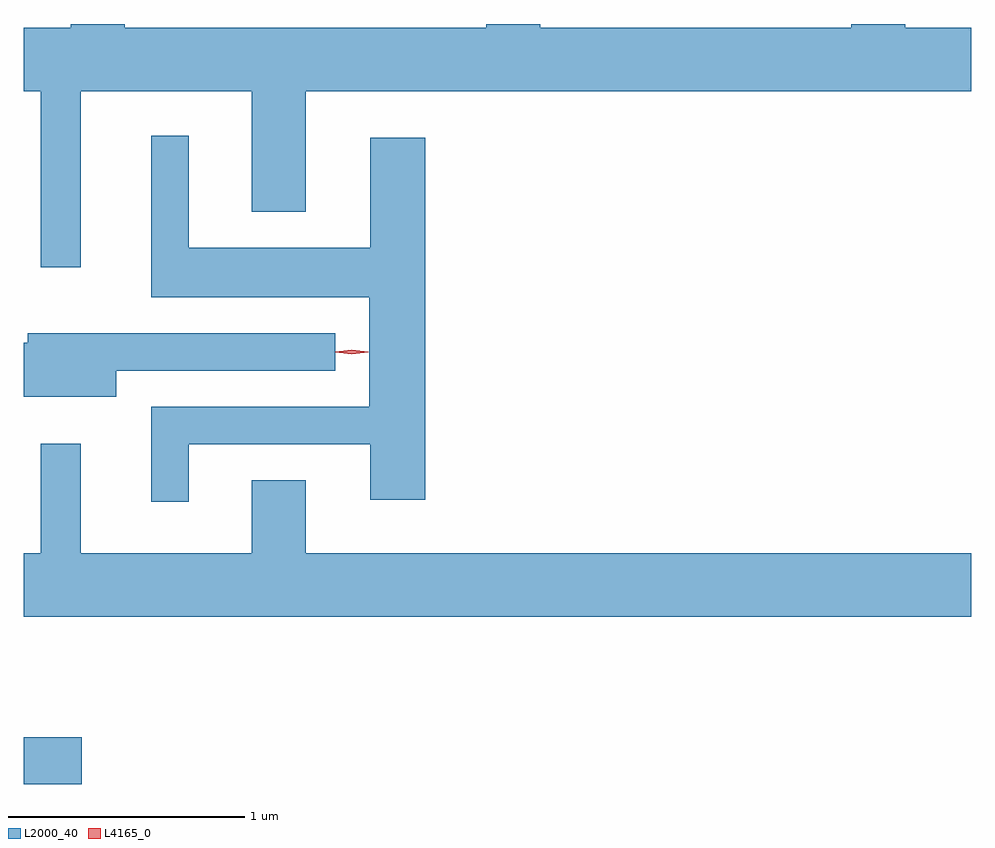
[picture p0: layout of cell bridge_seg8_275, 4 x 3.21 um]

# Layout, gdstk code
import gdstk
lib = gdstk.Library(unit=1e-6, precision=1e-09)
def R(c, l, rs):  # rectangles x0, y0, x1, y1
    for r in rs: c.add(gdstk.rectangle(r[:2], r[2:], *l))
def P(c, l, *ps):  # polygons
    for p in ps: c.add(gdstk.Polygon(p, *l))
L2000_40 = (2000, 40)
L4165_0 = (4165, 0)

bridge_seg8_275 = lib.new_cell('bridge_seg8_275')
R(bridge_seg8_275, L2000_40, [(1295.678,1817.951,1295.924,1818.149)])
P(bridge_seg8_275, L2000_40, [(1295.678,1820.876),(1295.751,1820.876),(1295.751,1820.133),(1295.919,1820.133),(1295.919,1820.876),(1296.641,1820.876),(1296.641,1820.366),(1296.869,1820.366),(1296.869,1820.876),(1299.678,1820.876),(1299.678,1821.144),(1299.399,1821.144),(1299.399,1821.159),(1299.171,1821.159),(1299.171,1821.144),(1297.859,1821.144),(1297.859,1821.159),(1297.631,1821.159),(1297.631,1821.144),(1296.104,1821.144),(1296.104,1821.159),(1295.876,1821.159),(1295.876,1821.144),(1295.678,1821.144)],
  [(1296.374,1819.386),(1297.141,1819.386),(1297.141,1819.151),(1297.374,1819.151),(1297.374,1820.679),(1297.141,1820.679),(1297.141,1820.214),(1296.374,1820.214),(1296.374,1820.688),(1296.216,1820.688),(1296.216,1820.006),(1297.136,1820.006),(1297.136,1819.544),(1296.216,1819.544),(1296.216,1819.143),(1296.374,1819.143)],
  [(1296.069,1819.696),(1296.993,1819.696),(1296.993,1819.854),(1295.696,1819.854),(1295.696,1819.814),(1295.678,1819.814),(1295.678,1819.586),(1296.069,1819.586)],
  [(1299.678,1818.924),(1296.869,1818.924),(1296.869,1819.234),(1296.641,1819.234),(1296.641,1818.924),(1295.919,1818.924),(1295.919,1819.388),(1295.751,1819.388),(1295.751,1818.924),(1295.678,1818.924),(1295.678,1818.656),(1299.678,1818.656)])
P(bridge_seg8_275, L4165_0, [(1297.063,1819.765),(1296.997,1819.774),(1296.997,1819.775),(1296.997,1819.775),(1297.063,1819.785),(1297.129,1819.775),(1297.129,1819.775),(1297.129,1819.774)],
  [(1297.063,1819.765),(1296.994,1819.774),(1296.994,1819.775),(1296.994,1819.775),(1297.063,1819.785),(1297.132,1819.775),(1297.132,1819.775),(1297.132,1819.774)])

lib.write_gds('bridge_seg8_275.gds')
